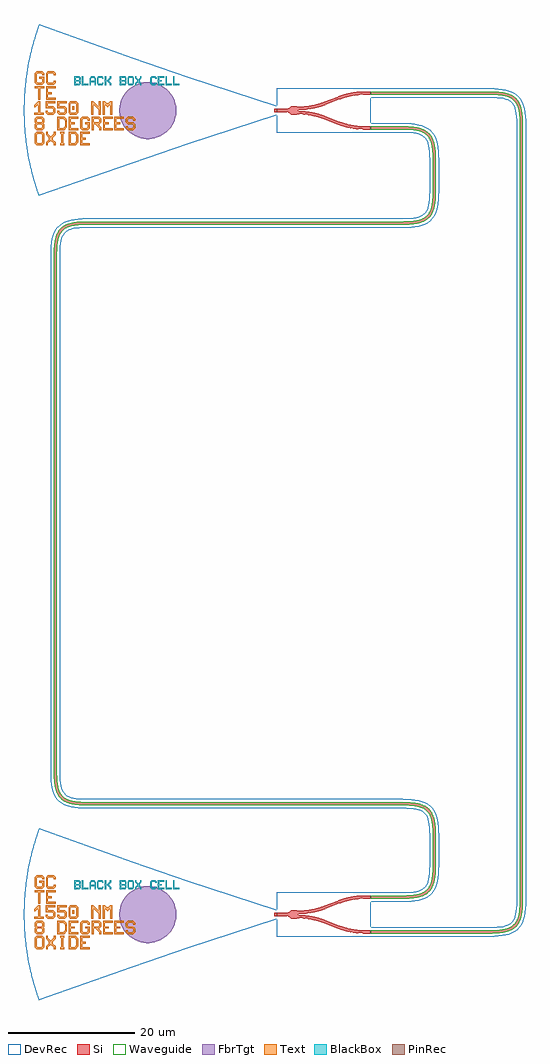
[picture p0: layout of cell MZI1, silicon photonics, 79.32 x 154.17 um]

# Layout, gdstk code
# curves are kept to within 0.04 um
import gdstk
lib = gdstk.Library(unit=1e-6, precision=1e-09)
def R(c, l, rs):  # rectangles x0, y0, x1, y1
    for r in rs: c.add(gdstk.rectangle(r[:2], r[2:], *l))
def P(c, l, *ps):  # polygons
    for p in ps: c.add(gdstk.Polygon(p, *l))
Si = (1, 0)
PinRec = (1, 10)
Waveguide = (1, 99)
Text = (10, 0)
DevRec = (68, 0)
FbrTgt = (81, 0)
BlackBox = (998, 0)

text = lib.new_cell('TEXT')
P(text, BlackBox, [(0,0),(0,1.4),(0.8,1.4),(1,1.2),(0.2,1.2),(0.2,0.8),(0.7,0.8),(0.8,0.9),(0.8,1.1),(0.7,1.2),(1,1.2),(1,0.8),(0.9,0.7),(1,0.6),(0.2,0.6),(0.2,0.2),(0.7,0.2),(0.8,0.3),(0.8,0.5),(0.7,0.6),(1,0.6),(1,0.2),(0.8,0)],
  [(1.2,0),(1.2,1.4),(1.4,1.4),(1.4,0.2),(2.2,0.2),(2.2,0)],
  [(2.4,0),(2.4,1.1),(2.7,1.4),(3.1,1.4),(3.3,1.2),(2.8,1.2),(2.6,1),(2.6,0.7),(3.2,0.7),(3.2,1),(3,1.2),(3.3,1.2),(3.4,1.1),(3.4,0),(3.2,0),(3.2,0.5),(2.6,0.5),(2.6,0)],
  [(3.8,0),(3.6,0.2),(3.6,1.2),(3.8,1.4),(4.4,1.4),(4.6,1.2),(4.6,1),(4.4,1),(4.4,1.1),(4.3,1.2),(3.9,1.2),(3.8,1.1),(3.8,0.3),(3.9,0.2),(4.3,0.2),(4.4,0.3),(4.4,0.4),(4.6,0.4),(4.6,0.2),(4.4,0)],
  [(4.8,0),(4.8,1.4),(5,1.4),(5,0.8),(5.2,0.8),(5.6,1.2),(5.6,1.4),(5.8,1.4),(5.8,1.1),(5.4,0.7),(5.8,0.3),(5.8,0),(5.6,0),(5.6,0.2),(5.2,0.6),(5,0.6),(5,0)],
  [(7.2,0),(7.2,1.4),(8,1.4),(8.2,1.2),(7.4,1.2),(7.4,0.8),(7.9,0.8),(8,0.9),(8,1.1),(7.9,1.2),(8.2,1.2),(8.2,0.8),(8.1,0.7),(8.2,0.6),(7.4,0.6),(7.4,0.2),(7.9,0.2),(8,0.3),(8,0.5),(7.9,0.6),(8.2,0.6),(8.2,0.2),(8,0)],
  [(8.6,0),(8.4,0.2),(8.4,1.2),(8.6,1.4),(9.2,1.4),(9.4,1.2),(9.4,0.7),(9.2,0.7),(9.2,1.1),(9.1,1.2),(8.7,1.2),(8.6,1.1),(8.6,0.3),(8.7,0.2),(9.1,0.2),(9.2,0.3),(9.2,0.7),(9.4,0.7),(9.4,0.2),(9.2,0)],
  [(9.6,0),(9.6,0.3),(9.9,0.6),(9.9,0.8),(9.6,1.1),(9.6,1.4),(9.8,1.4),(9.8,1.2),(10.1,0.9),(10.4,1.2),(10.4,1.4),(10.6,1.4),(10.6,1.1),(10.3,0.8),(10.3,0.6),(10.6,0.3),(10.6,0),(10.4,0),(10.4,0.2),(10.1,0.5),(9.8,0.2),(9.8,0)],
  [(12.2,0),(12,0.2),(12,1.2),(12.2,1.4),(12.8,1.4),(13,1.2),(13,1),(12.8,1),(12.8,1.1),(12.7,1.2),(12.3,1.2),(12.2,1.1),(12.2,0.3),(12.3,0.2),(12.7,0.2),(12.8,0.3),(12.8,0.4),(13,0.4),(13,0.2),(12.8,0)],
  [(13.2,0),(13.2,1.4),(14.2,1.4),(14.2,1.2),(13.4,1.2),(13.4,0.8),(13.8,0.8),(13.8,0.6),(13.4,0.6),(13.4,0.2),(14.2,0.2),(14.2,0)],
  [(14.4,0),(14.4,1.4),(14.6,1.4),(14.6,0.2),(15.4,0.2),(15.4,0)],
  [(15.6,0),(15.6,1.4),(15.8,1.4),(15.8,0.2),(16.6,0.2),(16.6,0)])

gc_te_1550_8degoxide_bb = lib.new_cell('GC_TE_1550_8degOxide_BB')
R(gc_te_1550_8degoxide_bb, Si, [(-0.4,-0.25,0,0.25)])
R(gc_te_1550_8degoxide_bb, Text, [(-32.313,0.092,-32.013,0.692)])
P(gc_te_1550_8degoxide_bb, Text, [(-37.67,1.71),(-37.67,3.51),(-38.27,3.51),(-38.27,3.81),(-36.77,3.81),(-36.77,3.51),(-37.37,3.51),(-37.37,1.71)],
  [(-37.97,-5.49),(-38.27,-5.19),(-38.27,-3.69),(-37.97,-3.39),(-37.07,-3.39),(-36.77,-3.69),(-36.77,-4.44),(-37.07,-4.44),(-37.07,-3.84),(-37.22,-3.69),(-37.82,-3.69),(-37.97,-3.84),(-37.97,-5.04),(-37.82,-5.19),(-37.22,-5.19),(-37.07,-5.04),(-37.07,-4.44),(-36.77,-4.44),(-36.77,-5.19),(-37.07,-5.49)],
  [(-31.07,-5.49),(-31.07,-3.39),(-29.57,-3.39),(-29.57,-3.69),(-30.77,-3.69),(-30.77,-4.29),(-30.17,-4.29),(-30.17,-4.59),(-30.77,-4.59),(-30.77,-5.19),(-29.57,-5.19),(-29.57,-5.49)],
  [(-32.87,-3.09),(-32.87,-0.99),(-31.37,-0.99),(-31.37,-1.29),(-32.57,-1.29),(-32.57,-1.89),(-31.97,-1.89),(-31.97,-2.19),(-32.57,-2.19),(-32.57,-2.79),(-31.37,-2.79),(-31.37,-3.09)],
  [(-27.47,-3.09),(-27.47,-0.99),(-25.97,-0.99),(-25.97,-1.29),(-27.17,-1.29),(-27.17,-1.89),(-26.57,-1.89),(-26.57,-2.19),(-27.17,-2.19),(-27.17,-2.79),(-25.97,-2.79),(-25.97,-3.09)],
  [(-25.67,-3.09),(-25.67,-0.99),(-24.17,-0.99),(-24.17,-1.29),(-25.37,-1.29),(-25.37,-1.89),(-24.77,-1.89),(-24.77,-2.19),(-25.37,-2.19),(-25.37,-2.79),(-24.17,-2.79),(-24.17,-3.09)],
  [(-36.47,1.71),(-36.47,3.81),(-34.97,3.81),(-34.97,3.51),(-36.17,3.51),(-36.17,2.91),(-35.57,2.91),(-35.57,2.61),(-36.17,2.61),(-36.17,2.01),(-34.97,2.01),(-34.97,1.71)],
  [(-29.313,-0.658),(-29.313,1.442),(-29.013,1.442),(-28.263,0.692),(-28.113,0.692),(-28.113,1.442),(-27.813,1.442),(-27.813,-0.658),(-28.113,-0.658),(-28.113,0.092),(-28.863,0.842),(-29.013,0.842),(-29.013,-0.658)],
  [(-34.22,-5.49),(-34.22,-5.19),(-34.07,-5.19),(-34.07,-3.69),(-34.22,-3.69),(-34.22,-3.39),(-33.62,-3.39),(-33.62,-3.69),(-33.77,-3.69),(-33.77,-5.19),(-33.62,-5.19),(-33.62,-5.49)],
  [(-36.17,4.11),(-36.47,4.41),(-36.47,5.91),(-36.17,6.21),(-35.27,6.21),(-34.97,5.91),(-34.97,5.61),(-35.27,5.61),(-35.27,5.76),(-35.42,5.91),(-36.02,5.91),(-36.17,5.76),(-36.17,4.56),(-36.02,4.41),(-35.42,4.41),(-35.27,4.56),(-35.27,4.71),(-34.97,4.71),(-34.97,4.41),(-35.27,4.11)],
  [(-27.513,-0.658),(-27.513,1.442),(-27.213,1.442),(-26.913,1.142),(-26.613,1.142),(-26.313,1.442),(-26.013,1.442),(-26.013,-0.658),(-26.313,-0.658),(-26.313,0.842),(-26.463,0.842),(-26.763,0.542),(-27.063,0.842),(-27.213,0.842),(-27.213,-0.658)],
  [(-32.613,-0.658),(-32.913,-0.358),(-32.913,1.142),(-32.613,1.442),(-31.713,1.442),(-31.413,1.142),(-32.463,1.142),(-32.613,0.992),(-32.613,-0.208),(-32.463,-0.358),(-31.863,-0.358),(-31.713,-0.208),(-31.713,0.992),(-31.863,1.142),(-31.413,1.142),(-31.413,-0.358),(-31.713,-0.658)],
  [(-32.87,-5.49),(-32.87,-3.39),(-31.82,-3.39),(-31.52,-3.69),(-32.57,-3.69),(-32.57,-5.19),(-31.97,-5.19),(-31.67,-4.89),(-31.67,-3.99),(-31.97,-3.69),(-31.52,-3.69),(-31.37,-3.84),(-31.37,-5.04),(-31.82,-5.49)],
  [(-34.67,-3.09),(-34.67,-0.99),(-33.62,-0.99),(-33.32,-1.29),(-34.37,-1.29),(-34.37,-2.79),(-33.77,-2.79),(-33.47,-2.49),(-33.47,-1.59),(-33.77,-1.29),(-33.32,-1.29),(-33.17,-1.44),(-33.17,-2.64),(-33.62,-3.09)],
  [(-23.57,-3.09),(-23.87,-2.79),(-23.87,-2.49),(-23.57,-2.49),(-23.57,-2.64),(-23.42,-2.79),(-22.82,-2.79),(-22.67,-2.64),(-22.67,-2.34),(-22.82,-2.19),(-23.57,-2.19),(-23.87,-1.89),(-23.87,-1.29),(-23.57,-0.99),(-22.67,-0.99),(-22.37,-1.29),(-22.37,-1.59),(-22.67,-1.59),(-22.67,-1.44),(-22.82,-1.29),(-23.42,-1.29),(-23.57,-1.44),(-23.57,-1.74),(-23.42,-1.89),(-22.67,-1.89),(-22.37,-2.19),(-22.37,-2.79),(-22.67,-3.09)],
  [(-36.213,-0.658),(-36.513,-0.358),(-36.513,-0.058),(-36.213,-0.058),(-36.213,-0.208),(-36.063,-0.358),(-35.463,-0.358),(-35.313,-0.208),(-35.313,0.242),(-35.463,0.392),(-36.513,0.392),(-36.513,1.442),(-35.013,1.442),(-35.013,1.142),(-36.213,1.142),(-36.213,0.692),(-35.313,0.692),(-35.013,0.392),(-35.013,-0.358),(-35.313,-0.658)],
  [(-34.413,-0.658),(-34.713,-0.358),(-34.713,-0.058),(-34.413,-0.058),(-34.413,-0.208),(-34.263,-0.358),(-33.663,-0.358),(-33.513,-0.208),(-33.513,0.242),(-33.663,0.392),(-34.713,0.392),(-34.713,1.442),(-33.213,1.442),(-33.213,1.142),(-34.413,1.142),(-34.413,0.692),(-33.513,0.692),(-33.213,0.392),(-33.213,-0.358),(-33.513,-0.658)],
  [(-37.97,-3.09),(-38.27,-2.79),(-38.27,-2.19),(-38.12,-2.04),(-38.27,-1.89),(-38.27,-1.29),(-37.97,-0.99),(-37.07,-0.99),(-36.77,-1.29),(-37.82,-1.29),(-37.97,-1.44),(-37.97,-1.74),(-37.82,-1.89),(-37.22,-1.89),(-37.07,-1.74),(-37.07,-1.44),(-37.22,-1.29),(-36.77,-1.29),(-36.77,-1.89),(-36.92,-2.04),(-36.77,-2.19),(-37.82,-2.19),(-37.97,-2.34),(-37.97,-2.64),(-37.82,-2.79),(-37.22,-2.79),(-37.07,-2.64),(-37.07,-2.34),(-37.22,-2.19),(-36.77,-2.19),(-36.77,-2.79),(-37.07,-3.09)],
  [(-38.313,-0.658),(-38.313,-0.358),(-37.713,-0.358),(-37.713,0.842),(-37.863,0.842),(-38.163,0.542),(-38.313,0.542),(-38.313,0.842),(-37.713,1.442),(-37.413,1.442),(-37.413,-0.358),(-36.813,-0.358),(-36.813,-0.658)],
  [(-36.47,-5.49),(-36.47,-5.04),(-36.02,-4.59),(-36.02,-4.29),(-36.47,-3.84),(-36.47,-3.39),(-36.17,-3.39),(-36.17,-3.69),(-35.72,-4.14),(-35.27,-3.69),(-35.27,-3.39),(-34.97,-3.39),(-34.97,-3.84),(-35.42,-4.29),(-35.42,-4.59),(-34.97,-5.04),(-34.97,-5.49),(-35.27,-5.49),(-35.27,-5.19),(-35.72,-4.74),(-36.17,-5.19),(-36.17,-5.49)],
  [(-30.77,-3.09),(-31.07,-2.79),(-31.07,-1.29),(-30.77,-0.99),(-29.87,-0.99),(-29.57,-1.29),(-29.57,-1.59),(-29.87,-1.59),(-29.87,-1.44),(-30.02,-1.29),(-30.62,-1.29),(-30.77,-1.44),(-30.77,-2.64),(-30.62,-2.79),(-30.02,-2.79),(-29.87,-2.64),(-29.87,-2.19),(-30.32,-2.19),(-30.32,-1.89),(-29.57,-1.89),(-29.57,-2.79),(-29.87,-3.09)],
  [(-37.97,4.11),(-38.27,4.41),(-38.27,5.91),(-37.97,6.21),(-37.07,6.21),(-36.77,5.91),(-36.77,5.61),(-37.07,5.61),(-37.07,5.76),(-37.22,5.91),(-37.82,5.91),(-37.97,5.76),(-37.97,4.56),(-37.82,4.41),(-37.22,4.41),(-37.07,4.56),(-37.07,5.01),(-37.52,5.01),(-37.52,5.31),(-36.77,5.31),(-36.77,4.41),(-37.07,4.11)],
  [(-29.27,-3.09),(-29.27,-0.99),(-28.07,-0.99),(-27.77,-1.29),(-28.97,-1.29),(-28.97,-1.89),(-28.22,-1.89),(-28.07,-1.74),(-28.07,-1.44),(-28.22,-1.29),(-27.77,-1.29),(-27.77,-1.89),(-28.07,-2.19),(-28.07,-2.34),(-27.77,-2.64),(-27.77,-3.09),(-28.07,-3.09),(-28.07,-2.79),(-28.67,-2.19),(-28.97,-2.19),(-28.97,-3.09)])
P(gc_te_1550_8degoxide_bb, DevRec, [(-37.607,-13.5),(-38.627,-10.245),(-39.378,-6.832),(-39.647,-5.058),(-39.835,-3.274),(-39.969,0.224),(-39.812,3.541),(-39.331,7.097),(-38.557,10.505),(-37.546,13.669),(-22.8,8.353),(-14.109,5.36),(0,0.75),(0,-0.75),(-14.109,-5.36)])
P(gc_te_1550_8degoxide_bb, FbrTgt, [(-20.621,-4.5),(-21.495,-4.37),(-22.326,-4.073),(-23.084,-3.619),(-23.738,-3.026),(-24.264,-2.316),(-24.642,-1.518),(-24.857,-0.661),(-24.9,0.221),(-24.77,1.095),(-24.473,1.926),(-24.019,2.684),(-23.426,3.338),(-22.716,3.864),(-21.918,4.242),(-21.061,4.457),(-20.179,4.5),(-19.305,4.37),(-18.474,4.073),(-17.716,3.619),(-17.062,3.026),(-16.536,2.316),(-16.158,1.518),(-15.943,0.661),(-15.9,-0.221),(-16.03,-1.095),(-16.327,-1.926),(-16.781,-2.684),(-17.374,-3.338),(-18.084,-3.864),(-18.882,-4.242),(-19.739,-4.457)])
gc_te_1550_8degoxide_bb.add(gdstk.FlexPath([(-0.01,0),(0.01,0)], 0.5, ends="flush", simple_path=True, layer=1, datatype=10))  # PinRec
gc_te_1550_8degoxide_bb.add(gdstk.Reference(text, (-32,4)))
gc_te_1550_8degoxide_bb.add(gdstk.Label('Lumerical_INTERCONNECT_library=Design kits/ebeam', (-29,-7), layer=68, texttype=0))
gc_te_1550_8degoxide_bb.add(gdstk.Label('Component=GC_TE_1550_8degOxide_BB', (-28,-5), layer=68, texttype=0))
gc_te_1550_8degoxide_bb.add(gdstk.Label('opt1', (0,0), layer=1, texttype=10))

ebeam_y_1550 = lib.new_cell('ebeam_y_1550')
R(ebeam_y_1550, Si, [(6.5,-3,7.4,-2.5), (-7.4,-0.25,-6,0.25), (6.5,2.5,7.4,3)])
P(ebeam_y_1550, Si, [(6.458,-3),(6.237,-2.997),(6.237,-2.497),(6.5,-2.5),(6.5,-3)],
  [(5.033,-2.908),(3.59,-2.634),(2.265,-2.21),(2.445,-1.744),(3.731,-2.154),(5.033,-2.404)],
  [(6.233,-2.997),(5.033,-2.908),(5.033,-2.404),(6.237,-2.497)],
  [(2.265,-2.21),(0.055,-1.356),(0.235,-0.89),(2.445,-1.744)],
  [(-0.762,-1.076),(-2.334,-0.724),(-4,-0.6),(-4,-0.1),(-2.381,-0.212),(-0.762,-0.555)],
  [(0.055,-1.356),(-0.762,-1.076),(-0.762,-0.555),(0.235,-0.89)],
  [(6.237,2.497),(6.237,2.997),(6.5,3),(6.5,2.5)],
  [(2.445,1.744),(2.267,2.211),(3.59,2.634),(5.033,2.908),(5.033,2.404),(3.731,2.154)],
  [(5.033,2.404),(5.033,2.908),(6.237,2.997),(6.237,2.497)],
  [(0.235,0.89),(0.055,1.356),(2.265,2.21),(2.445,1.744)],
  [(-4,0.1),(-4,0.6),(-2.334,0.724),(-0.762,1.076),(-0.762,0.555),(-2.381,0.212)],
  [(-0.762,0.555),(-0.762,1.076),(0.055,1.356),(0.235,0.89)],
  [(-5.122,-0.662),(-5.442,-0.374),(-5.808,-0.255),(-6,-0.25),(-6,0.25),(-5.817,0.253),(-5.442,0.374),(-5.122,0.662)],
  [(-4.957,-0.703),(-5.122,-0.662),(-5.122,0.662),(-4.538,0.703),(-4,0.6),(-4,-0.6),(-4.509,-0.701)])
R(ebeam_y_1550, DevRec, [(-7.4,-3.5,7.4,3.5)])
ebeam_y_1550.add(gdstk.FlexPath([(-7.35,0),(-7.45,0)], 0.5, ends="flush", simple_path=True, layer=1, datatype=10))  # PinRec
ebeam_y_1550.add(gdstk.FlexPath([(7.35,2.75),(7.45,2.75)], 0.5, ends="flush", simple_path=True, layer=1, datatype=10))  # PinRec
ebeam_y_1550.add(gdstk.FlexPath([(7.35,-2.75),(7.45,-2.75)], 0.5, ends="flush", simple_path=True, layer=1, datatype=10))  # PinRec
ebeam_y_1550.add(gdstk.Label('Component=ebeam_y_1550', (-6,1.5), layer=68, texttype=0))
ebeam_y_1550.add(gdstk.Label('Lumerical_INTERCONNECT_library=Design kits/ebeam', (-6.86,-2.19), layer=68, texttype=0))
ebeam_y_1550.add(gdstk.Label('opt2', (7.4,2.75), layer=1, texttype=10))
ebeam_y_1550.add(gdstk.Label('opt3', (7.4,-2.75), layer=1, texttype=10))
ebeam_y_1550.add(gdstk.Label('opt1', (-7.4,0), layer=1, texttype=10))
ebeam_y_1550.add(gdstk.Label('Ref: Y Zhang, Opt. Express, 21/1, 2013', (-7.5,-1), layer=10, texttype=0))

waveguide = lib.new_cell('Waveguide')
P(waveguide, Si, [(14.8,2.5),(14.8,3),(20.482,3.01),(22.192,3.196),(22.832,3.39),(23.344,3.657),(23.747,4.004),(24.06,4.447),(24.405,5.409),(24.583,6.921),(24.6,12.5),(24.528,14.06),(24.296,15.242),(23.943,15.994),(23.432,16.531),(22.714,16.906),(21.578,17.16),(20.067,17.249),(-30.648,17.26),(-32.131,17.396),(-33.298,17.731),(-33.772,17.991),(-34.177,18.323),(-34.711,19.078),(-34.923,19.607),(-35.105,20.37),(-35.249,22.279),(-35.232,105.072),(-35.131,106.184),(-34.965,106.971),(-34.647,107.764),(-34.266,108.303),(-33.771,108.73),(-33.167,109.045),(-32.449,109.263),(-31.431,109.415),(-30,109.47),(19.85,109.47),(21.579,109.561),(22.715,109.815),(23.433,110.19),(23.944,110.727),(24.297,111.479),(24.529,112.661),(24.599,114.003),(24.582,120.08),(24.404,121.592),(24.059,122.554),(23.673,123.073),(23.153,123.46),(22.591,123.697),(21.739,123.888),(20.277,123.996),(14.8,124),(14.8,124.5),(20.701,124.483),(21.64,124.406),(22.453,124.256),(23.147,124.02),(23.73,123.683),(24.201,123.234),(24.56,122.673),(24.815,122.001),(24.981,121.214),(25.095,119.688),(25.1,114.22),(25.06,112.978),(24.955,112.09),(24.675,111.053),(24.283,110.34),(23.731,109.788),(22.883,109.345),(21.641,109.065),(19.85,108.97),(-31.206,108.932),(-32.196,108.805),(-32.864,108.626),(-33.493,108.314),(-33.896,107.967),(-34.209,107.524),(-34.485,106.833),(-34.637,106.11),(-34.732,105.05),(-34.749,22.283),(-34.613,20.456),(-34.447,19.759),(-34.263,19.3),(-34.031,18.918),(-33.747,18.604),(-33.094,18.187),(-32.045,17.888),(-30.632,17.76),(20.071,17.749),(21.64,17.656),(22.882,17.376),(23.73,16.933),(24.359,16.272),(24.772,15.394),(25.005,14.291),(25.098,12.723),(25.083,6.899),(24.893,5.301),(24.726,4.718),(24.498,4.207),(24.027,3.573),(23.511,3.17),(22.883,2.875),(21.981,2.646),(20.288,2.505)])
P(waveguide, Waveguide, [(14.8,2.5),(14.8,3),(20.482,3.01),(22.192,3.196),(22.832,3.39),(23.344,3.657),(23.747,4.004),(24.06,4.447),(24.405,5.409),(24.583,6.921),(24.6,12.5),(24.528,14.06),(24.296,15.242),(23.943,15.994),(23.432,16.531),(22.714,16.906),(21.578,17.16),(20.067,17.249),(-30.648,17.26),(-32.131,17.396),(-33.298,17.731),(-33.772,17.991),(-34.177,18.323),(-34.711,19.078),(-34.923,19.607),(-35.105,20.37),(-35.249,22.279),(-35.232,105.072),(-35.131,106.184),(-34.965,106.971),(-34.647,107.764),(-34.266,108.303),(-33.771,108.73),(-33.167,109.045),(-32.449,109.263),(-31.431,109.415),(-30,109.47),(19.85,109.47),(21.579,109.561),(22.715,109.815),(23.433,110.19),(23.944,110.727),(24.297,111.479),(24.529,112.661),(24.599,114.003),(24.582,120.08),(24.404,121.592),(24.059,122.554),(23.673,123.073),(23.153,123.46),(22.591,123.697),(21.739,123.888),(20.277,123.996),(14.8,124),(14.8,124.5),(20.701,124.483),(21.64,124.406),(22.453,124.256),(23.147,124.02),(23.73,123.683),(24.201,123.234),(24.56,122.673),(24.815,122.001),(24.981,121.214),(25.095,119.688),(25.1,114.22),(25.06,112.978),(24.955,112.09),(24.675,111.053),(24.283,110.34),(23.731,109.788),(22.883,109.345),(21.641,109.065),(19.85,108.97),(-31.206,108.932),(-32.196,108.805),(-32.864,108.626),(-33.493,108.314),(-33.896,107.967),(-34.209,107.524),(-34.485,106.833),(-34.637,106.11),(-34.732,105.05),(-34.749,22.283),(-34.613,20.456),(-34.447,19.759),(-34.263,19.3),(-34.031,18.918),(-33.747,18.604),(-33.094,18.187),(-32.045,17.888),(-30.632,17.76),(20.071,17.749),(21.64,17.656),(22.882,17.376),(23.73,16.933),(24.359,16.272),(24.772,15.394),(25.005,14.291),(25.098,12.723),(25.083,6.899),(24.893,5.301),(24.726,4.718),(24.498,4.207),(24.027,3.573),(23.511,3.17),(22.883,2.875),(21.981,2.646),(20.288,2.505)])
P(waveguide, DevRec, [(14.8,2),(14.8,3.5),(19.849,3.5),(21.595,3.598),(22.426,3.776),(23.009,4.036),(23.408,4.375),(23.705,4.855),(24.003,6.006),(24.09,7.101),(24.1,12.498),(24.002,14.245),(23.824,15.076),(23.564,15.659),(23.407,15.876),(23.008,16.215),(22.425,16.475),(21.08,16.708),(19.85,16.75),(-30.702,16.761),(-32.51,16.96),(-33.51,17.278),(-34.35,17.803),(-34.698,18.151),(-35.223,18.991),(-35.405,19.473),(-35.639,20.548),(-35.75,22.5),(-35.739,104.922),(-35.638,106.173),(-35.404,107.248),(-34.988,108.171),(-34.697,108.57),(-34.349,108.918),(-33.509,109.443),(-32.509,109.761),(-31.35,109.924),(-30,109.97),(19.85,109.97),(21.595,110.068),(22.426,110.246),(23.009,110.506),(23.226,110.663),(23.565,111.062),(23.925,112.027),(24.058,112.99),(24.089,119.9),(23.924,121.444),(23.564,122.409),(23.225,122.808),(22.745,123.105),(21.594,123.403),(19.849,123.5),(14.8,123.5),(14.8,125),(20.551,124.99),(21.802,124.889),(22.877,124.655),(23.8,124.239),(24.199,123.948),(24.547,123.6),(25.072,122.76),(25.254,122.278),(25.488,121.203),(25.589,119.952),(25.6,114.219),(25.554,112.87),(25.391,111.711),(25.073,110.711),(24.548,109.871),(23.801,109.232),(22.878,108.816),(21.803,108.582),(19.85,108.47),(-30,108.47),(-31.23,108.428),(-32.575,108.195),(-33.158,107.935),(-33.557,107.596),(-33.854,107.116),(-34.074,106.414),(-34.239,104.87),(-34.25,22.5),(-34.153,20.756),(-33.855,19.605),(-33.558,19.125),(-33.376,18.943),(-32.896,18.646),(-31.745,18.348),(-30.65,18.261),(19.85,18.25),(21.802,18.139),(22.877,17.905),(23.8,17.489),(24.547,16.85),(25.072,16.01),(25.254,15.528),(25.488,14.453),(25.6,12.502),(25.59,7.049),(25.391,5.241),(25.073,4.241),(24.548,3.401),(24.2,3.053),(23.36,2.528),(22.36,2.21),(20.552,2.011)])
waveguide.add(gdstk.FlexPath([(14.81,124.25),(14.79,124.25)], 0.5, ends="flush", simple_path=True, layer=1, datatype=10))  # PinRec
waveguide.add(gdstk.FlexPath([(14.81,2.75),(14.79,2.75)], 0.5, ends="flush", simple_path=True, layer=1, datatype=10))  # PinRec
waveguide.add(gdstk.Label('Lumerical_INTERCONNECT_library=Design kits/EBeam', (14.8,124.15), layer=68, texttype=0))
waveguide.add(gdstk.Label('Component=ebeam_wg_integral_1550', (14.8,124.35), layer=68, texttype=0))
waveguide.add(gdstk.Label('cellName=Waveguide', (14.8,124.45), layer=68, texttype=0))
waveguide.add(gdstk.Label('Spice_param:wg_length=0.000251990 wg_width=5e-07 points="[[14.8,124.25],[24.85,124.25],[24.85,109.22],[-35.0,109.22],[-35.0,17.5],[24.85,17.5],[24.85,2.75],[14.8,2.75]]" radius=5e-06', (14.8,124.25), layer=68, texttype=0))
waveguide.add(gdstk.Label('Length=251.990 (microns)', (14.8,123.65), layer=68, texttype=0))
waveguide.add(gdstk.Label('waveguide_type=Strip TE 1550 nm, w=500 nm', (14.8,124.05), layer=68, texttype=0))
waveguide.add(gdstk.Label('opt1', (14.8,124.25), layer=1, texttype=10))
waveguide.add(gdstk.Label('opt2', (14.8,2.75), layer=1, texttype=10))

waveguide_1 = lib.new_cell('Waveguide$1')
P(waveguide_1, Si, [(14.8,-3),(14.8,-2.5),(33.817,-2.499),(35.489,-2.388),(36.079,-2.272),(36.693,-2.064),(37.093,-1.844),(37.423,-1.573),(37.693,-1.244),(37.913,-0.844),(38.121,-0.23),(38.237,0.36),(38.35,2.25),(38.35,124.75),(38.312,125.956),(38.213,126.794),(37.914,127.843),(37.694,128.243),(37.347,128.646),(36.904,128.959),(36.465,129.155),(35.329,129.409),(33.6,129.5),(14.8,129.5),(14.8,130),(33.6,130),(35.564,129.881),(36.351,129.715),(37.023,129.46),(37.584,129.101),(38.033,128.63),(38.37,128.047),(38.606,127.353),(38.756,126.54),(38.841,125.397),(38.85,2.25),(38.731,0.286),(38.605,-0.354),(38.369,-1.048),(38.109,-1.522),(37.777,-1.927),(37.371,-2.26),(36.767,-2.575),(36.203,-2.756),(35.39,-2.906),(33.821,-2.999)])
P(waveguide_1, Waveguide, [(14.8,-3),(14.8,-2.5),(33.817,-2.499),(35.489,-2.388),(36.079,-2.272),(36.693,-2.064),(37.093,-1.844),(37.423,-1.573),(37.693,-1.244),(37.913,-0.844),(38.121,-0.23),(38.237,0.36),(38.35,2.25),(38.35,124.75),(38.312,125.956),(38.213,126.794),(37.914,127.843),(37.694,128.243),(37.347,128.646),(36.904,128.959),(36.465,129.155),(35.329,129.409),(33.6,129.5),(14.8,129.5),(14.8,130),(33.6,130),(35.564,129.881),(36.351,129.715),(37.023,129.46),(37.584,129.101),(38.033,128.63),(38.37,128.047),(38.606,127.353),(38.756,126.54),(38.841,125.397),(38.85,2.25),(38.731,0.286),(38.605,-0.354),(38.369,-1.048),(38.109,-1.522),(37.777,-1.927),(37.371,-2.26),(36.767,-2.575),(36.203,-2.756),(35.39,-2.906),(33.821,-2.999)])
P(waveguide_1, DevRec, [(14.8,-3.5),(14.8,-2),(33.6,-2),(34.83,-1.958),(35.793,-1.825),(36.495,-1.605),(36.975,-1.308),(37.157,-1.126),(37.454,-0.646),(37.574,-0.326),(37.752,0.505),(37.85,2.25),(37.85,124.75),(37.808,125.98),(37.675,126.943),(37.315,127.908),(37.158,128.125),(36.759,128.464),(35.794,128.824),(34.831,128.957),(33.6,129),(14.8,129),(14.8,130.5),(33.6,130.5),(35.553,130.388),(36.628,130.154),(37.11,129.972),(37.95,129.447),(38.298,129.099),(38.589,128.7),(39.005,127.777),(39.239,126.702),(39.34,125.451),(39.35,2.25),(39.238,0.297),(39.004,-0.778),(38.822,-1.26),(38.297,-2.1),(37.949,-2.448),(37.109,-2.973),(36.627,-3.155),(35.552,-3.389),(33.6,-3.5)])
waveguide_1.add(gdstk.FlexPath([(14.81,-2.75),(14.79,-2.75)], 0.5, ends="flush", simple_path=True, layer=1, datatype=10))  # PinRec
waveguide_1.add(gdstk.FlexPath([(14.81,129.75),(14.79,129.75)], 0.5, ends="flush", simple_path=True, layer=1, datatype=10))  # PinRec
waveguide_1.add(gdstk.Label('Lumerical_INTERCONNECT_library=Design kits/EBeam', (14.8,-2.85), layer=68, texttype=0))
waveguide_1.add(gdstk.Label('Component=ebeam_wg_integral_1550', (14.8,-2.65), layer=68, texttype=0))
waveguide_1.add(gdstk.Label('cellName=Waveguide', (14.8,-2.55), layer=68, texttype=0))
waveguide_1.add(gdstk.Label('Spice_param:wg_length=0.000176997 wg_width=5e-07 points="[[14.8,-2.75],[38.6,-2.75],[38.6,129.75],[14.8,129.75]]" radius=5e-06', (14.8,-2.75), layer=68, texttype=0))
waveguide_1.add(gdstk.Label('Length=176.997 (microns)', (14.8,-3.35), layer=68, texttype=0))
waveguide_1.add(gdstk.Label('waveguide_type=Strip TE 1550 nm, w=500 nm', (14.8,-2.95), layer=68, texttype=0))
waveguide_1.add(gdstk.Label('opt1', (14.8,-2.75), layer=1, texttype=10))
waveguide_1.add(gdstk.Label('opt2', (14.8,129.75), layer=1, texttype=10))

mzi1 = lib.new_cell('MZI1')
mzi1.add(gdstk.Reference(gc_te_1550_8degoxide_bb, (0,0)))
mzi1.add(gdstk.Reference(ebeam_y_1550, (7.4,127)))
mzi1.add(gdstk.Reference(gc_te_1550_8degoxide_bb, (0,127)))
mzi1.add(gdstk.Reference(ebeam_y_1550, (7.4,0)))
mzi1.add(gdstk.Reference(waveguide, (0,0)))
mzi1.add(gdstk.Reference(waveguide_1, (0,0)))

lib.write_gds('MZI1.gds')
